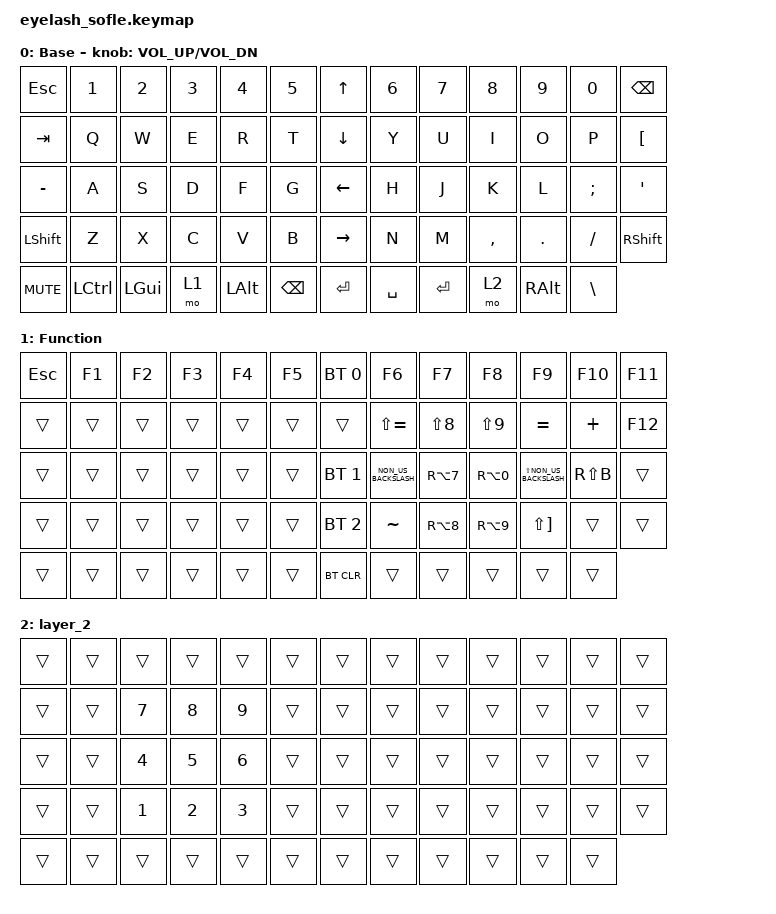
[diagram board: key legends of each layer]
#define ZMK_POINTING_DEFAULT_MOVE_VAL 1200  // 600
#define ZMK_POINTING_DEFAULT_SCRL_VAL 25   // 10

#include <input/processors.dtsi>
#include <zephyr/dt-bindings/input/input-event-codes.h>
#include <behaviors.dtsi>
#include <dt-bindings/zmk/bt.h>
#include <dt-bindings/zmk/keys.h>
#include <dt-bindings/zmk/pointing.h>

// Layer IDs

#define WINDOWS 0
#define WINDOWS_FN   1
#define MAC   2
#define MAC_FN   3
#define GALLIUM 4
#define GALLIUM_FN  5
#define UTILS 6

&mmv_input_listener { input-processors = <&zip_xy_scaler 2 1>; };

&msc_input_listener { input-processors = <&zip_scroll_scaler 2 1>; };

&msc {
    acceleration-exponent = <1>;      // 0
    time-to-max-speed-ms = <100>;     // 300
    delay-ms = <0>;                   // 0
};

&mmv {
    time-to-max-speed-ms = <500>;
    acceleration-exponent = <1>;
    trigger-period-ms = <16>;
};

&soft_off { hold-time-ms = <2000>; };

/ {
    scroll_encoder: scroll_encoder {
        compatible = "zmk,behavior-sensor-rotate";
        #sensor-binding-cells = <0>;
        bindings = <&msc SCRL_DOWN>, <&msc SCRL_UP>;

        tap-ms = <100>;
    };

    behaviors {
        winfn_mt: momentary_or_toggle_win_fn {
            // If held, momentary switch to layer 1 or double tap to toggle layer 1

            compatible = "zmk,behavior-tap-dance";
            #binding-cells = <0>;
            tapping-term-ms = <200>;
            bindings = <&mo 0>, <&tog 0>;
        };

        macfn_mt: momentary_or_toggle_mac_fn {
            // If held, momentary switch to layer 3 or double tap to toggle layer 3

            compatible = "zmk,behavior-tap-dance";
            #binding-cells = <0>;
            tapping-term-ms = <200>;
            bindings = <&mo 0>, <&tog 0>;
        };
    };

    combos {
        compatible = "zmk,combos";

        softoff {
            bindings = <&soft_off>;
            key-positions = <14 28 40>; // Keys Q, S, Z
        };
    };

    macros {
        snap_win: snapshot_win {
            compatible = "zmk,behavior-macro";
            #binding-cells = <0>;
            bindings =
                <&macro_press>,
                <&kp LEFT_WIN &kp LEFT_SHIFT>,
                <&macro_tap>,
                <&kp S>,
                <&macro_release>,
                <&kp LEFT_COMMAND &kp LEFT_SHIFT>;

            label = "SNAPSHOT_WIN";
        };

        snap_mac_clip: snapshot_mac_clip {
            compatible = "zmk,behavior-macro";
            #binding-cells = <0>;
            bindings =
                <&macro_press>,
                <&kp LEFT_COMMAND &kp LEFT_CONTROL &kp LEFT_SHIFT>,
                <&macro_tap>,
                <&kp NUMBER_4>,
                <&macro_release>,
                <&kp LEFT_COMMAND &kp LEFT_CONTROL &kp LEFT_SHIFT>;

            label = "SNAPSHOT_MAC_CLIP";
        };

        snap_mac_file: snapshot_mac_file {
            compatible = "zmk,behavior-macro";
            #binding-cells = <0>;
            bindings =
                <&macro_press>,
                <&kp LEFT_COMMAND &kp LEFT_SHIFT>,
                <&macro_tap>,
                <&kp NUMBER_4>,
                <&macro_release>,
                <&kp LEFT_COMMAND &kp LEFT_SHIFT>;

            label = "SNAPSHOT_MAC_FILE";
        };
    };

    // Bottom left key is the encoder click
    // Column 7 (middle column) is the joystick from the right half

    keymap {
        compatible = "zmk,keymap";

        //
        // Windows layout
        //

        Base {
            bindings = <
&kp ESC     &kp N1     &kp N2    &kp N3  &kp N4    &kp N5      &kp UP     &kp N6     &kp N7     &kp N8     &kp N9         &kp N0         &kp BSPC
&kp TAB     &kp Q      &kp W     &kp E   &kp R     &kp T       &kp DOWN   &kp Y      &kp U      &kp I      &kp O          &kp P          &kp LEFT_BRACKET
&kp MINUS   &kp A      &kp S     &kp D   &kp F     &kp G       &kp LEFT   &kp H      &kp J      &kp K      &kp L          &kp SEMI       &kp APOS
&kp LSHFT   &kp Z      &kp X     &kp C   &kp V     &kp B       &kp RIGHT  &kp N      &kp M      &kp COMMA  &kp DOT        &kp SLASH      &kp RSHIFT
&kp C_MUTE  &kp LCTRL  &kp LGUI  &mo 1   &kp LALT  &kp BSPC    &kp ENTER  &kp SPACE  &kp ENTER  &mo 2      &kp RIGHT_ALT  &kp BACKSLASH
            >;

            sensor-bindings = <&inc_dec_kp C_VOLUME_UP C_VOL_DN>;
            display-name = "Base";
        };

        //
        // Mac layout
        //
        //
        // Gallium layout for Windows
        //

        Function {
            bindings = <
&kp ESC  &kp F1  &kp F2  &kp F3  &kp F4  &kp F5    &bt BT_SEL 0  &kp F6                &kp F7      &kp F8      &kp F9                    &kp F10    &kp F11
&trans   &trans  &trans  &trans  &trans  &trans    &trans        &kp LS(EQUAL)         &kp LS(N8)  &kp LS(N9)  &kp EQUAL                 &kp PLUS   &kp F12
&trans   &trans  &trans  &trans  &trans  &trans    &bt BT_SEL 1  &kp NON_US_BACKSLASH  &kp RA(N7)  &kp RA(N0)  &kp LS(NON_US_BACKSLASH)  &kp RS(B)  &trans
&trans   &trans  &trans  &trans  &trans  &trans    &bt BT_SEL 2  &kp TILDE             &kp RA(N8)  &kp RA(N9)  &kp LS(RIGHT_BRACKET)     &trans     &trans
&trans   &trans  &trans  &trans  &trans  &trans    &bt BT_CLR    &trans                &trans      &trans      &trans                    &trans
            >;
        };

        layer_2 {
            bindings = <
&trans  &trans  &trans  &trans  &trans  &trans    &trans  &trans  &trans  &trans  &trans  &trans  &trans
&trans  &trans  &kp N7  &kp N8  &kp N9  &trans    &trans  &trans  &trans  &trans  &trans  &trans  &trans
&trans  &trans  &kp N4  &kp N5  &kp N6  &trans    &trans  &trans  &trans  &trans  &trans  &trans  &trans
&trans  &trans  &kp N1  &kp N2  &kp N3  &trans    &trans  &trans  &trans  &trans  &trans  &trans  &trans
&trans  &trans  &trans  &trans  &trans  &trans    &trans  &trans  &trans  &trans  &trans  &trans
            >;
        };
    };
};
